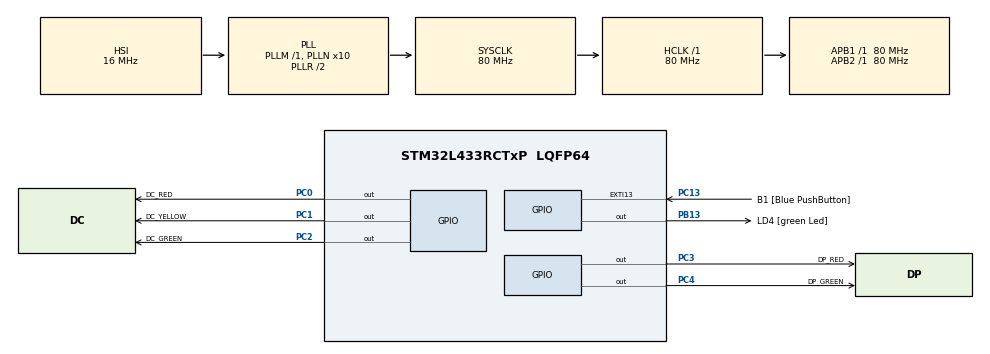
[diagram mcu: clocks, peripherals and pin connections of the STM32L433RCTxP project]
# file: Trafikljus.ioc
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Mcu.Family=STM32L4
Mcu.Name=STM32L433RCTxP
Mcu.Package=LQFP64
NVIC.PriorityGroup=NVIC_PRIORITYGROUP_4
PA13\ (JTMS-SWDIO).GPIO_Label=TMS
PA13\ (JTMS-SWDIO).Mode=Serial_Wire
PA13\ (JTMS-SWDIO).Signal=SYS_JTMS-SWDIO
PA14\ (JTCK-SWCLK).GPIO_Label=TCK
PA14\ (JTCK-SWCLK).Mode=Serial_Wire
PA14\ (JTCK-SWCLK).Signal=SYS_JTCK-SWCLK
PB13.GPIO_Label=LD4 [green Led]
PB13.Signal=GPIO_Output
PB3\ (JTDO-TRACESWO).GPIO_Label=SWO
PB3\ (JTDO-TRACESWO).Signal=SYS_JTDO-SWO
PC0.GPIO_Label=DC_RED
PC0.Signal=GPIO_Output
PC1.GPIO_Label=DC_YELLOW
PC1.Signal=GPIO_Output
PC13.GPIO_Label=B1 [Blue PushButton]
PC13.GPIO_ModeDefaultEXTI=GPIO_MODE_IT_FALLING
PC13.GPIO_PuPd=GPIO_NOPULL
PC13.Signal=GPXTI13
PC14-OSC32_IN\ (PC14).Mode=LSE-External-Oscillator
PC14-OSC32_IN\ (PC14).Signal=RCC_OSC32_IN
PC15-OSC32_OUT\ (PC15).Mode=LSE-External-Oscillator
PC15-OSC32_OUT\ (PC15).Signal=RCC_OSC32_OUT
PC2.GPIO_Label=DC_GREEN
PC2.Signal=GPIO_Output
PC3.GPIO_Label=DP_RED
PC3.Signal=GPIO_Output
PC4.GPIO_Label=DP_GREEN
PC4.Signal=GPIO_Output
PH1-OSC_OUT\ (PH1).Signal=RCC_OSC_OUT
ProjectManager.HeapSize=0x200
ProjectManager.StackSize=0x400
ProjectManager.TargetToolchain=STM32CubeIDE
RCC.ADCFreq_Value=64000000
RCC.AHBFreq_Value=80000000
RCC.APB1Freq_Value=80000000
RCC.APB1TimFreq_Value=80000000
RCC.APB2Freq_Value=80000000
RCC.APB2TimFreq_Value=80000000
RCC.CortexFreq_Value=80000000
RCC.HCLKFreq_Value=80000000
RCC.HSE_VALUE=8000000
RCC.HSI48_VALUE=48000000
RCC.HSI_VALUE=16000000
RCC.MSI_VALUE=4000000
RCC.PLLN=10
RCC.PLLSourceVirtual=RCC_PLLSOURCE_HSI
RCC.PREFETCH_ENABLE=1
RCC.SYSCLKFreq_VALUE=80000000
RCC.SYSCLKSource=RCC_SYSCLKSOURCE_PLLCLK
RCC.USBFreq_Value=64000000
RCC.VCOOutputFreq_Value=160000000
board=NUCLEO-L433RC-P

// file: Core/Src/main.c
/* USER CODE BEGIN Header */
/**
 ******************************************************************************
 * @file           : main.c
 * @brief          : Main program body
 ******************************************************************************
 * @attention
 *
 * Copyright (c) 2026 STMicroelectronics.
 * All rights reserved.
 *
 * This software is licensed under terms that can be found in the LICENSE file
 * in the root directory of this software component.
 * If no LICENSE file comes with this software, it is provided AS-IS.
 *
 ******************************************************************************
 */
/* USER CODE END Header */
#include "main.h"

/* USER CODE BEGIN Includes */
#include <stdio.h>
#include <stdlib.h>
#include <stdbool.h>
#include "enum.h"

/* USER CODE END Includes */

void SystemClock_Config(void);
static void MX_GPIO_Init(void);

/* USER CODE BEGIN 0 */
//car = RED YELLOW GREEN
//people = RED GREEN
//output[0] = s_init
//output[1] = s_car_stop = 10001
// output[2] = s_car_standing_by = 10110
//output[3] = s_people_walk = 10001
//output[4] = s_car_about_to_stop = 10010
//output[5] = s_car_go = 01001
//output[6] = s_people_stop = 01100
//output[7] = s_people_pushed_button = 01011
void set_traffic_lights(enum state s) {
	const int8_t output[8] = { 0b11111, 0b10001, 0b01001, 0b01011, 0b01100,
			0b01100, 0b01010, 0b01001 };
	switch (s) {
	case s_init:
		GPIOC->ODR = output[s_init];
		break;
	case s_people_walk:
		GPIOC->ODR = output[s_people_walk];
		break;
	case s_car_standing_by:
		GPIOC->ODR = output[s_car_standing_by];
		break;
	case s_people_stop:
		GPIOC->ODR = output[s_people_stop];
		break;
	case s_car_go:
		GPIOC->ODR = output[s_car_go];
		break;
	case s_pushed_wait:
		GPIOC->ODR = output[s_pushed_wait];
		break;
	case s_car_is_stopping:
		GPIOC->ODR = output[s_car_is_stopping];
		break;
	case s_car_stop:
		GPIOC->ODR = output[s_car_stop];
		break;
	default:
		break;
	}
}
int is_button_pressed() {
	return GPIOC->IDR & (1 << 13);
}

/* USER CODE END 0 */

int main(void) {

	/* USER CODE BEGIN 1 */
	enum state st = s_init;
	enum event ev = ev_none;
	uint32_t ticks_left_in_state = 0;
	uint32_t curr_tick, last_tick = 0;
	bool temp = false;
	/* USER CODE END 1 */

	/* MCU Configuration--------------------------------------------------------*/

	/* Reset of all peripherals, Initializes the Flash interface and the Systick. */
	HAL_Init();

	/* Configure the system clock */
	SystemClock_Config();

	/* Initialize all configured peripherals */
	MX_GPIO_Init();
	/* USER CODE BEGIN 2 */
	int last_press = is_button_pressed();

	/* USER CODE END 2 */

	/* Infinite loop */
	while (1) {
		/* USER CODE BEGIN 3 */
		int curr_press = is_button_pressed();
		bool button_ev = curr_press && !last_press;
		last_press = curr_press;
		curr_tick = HAL_GetTick();
		uint32_t delta = curr_tick - last_tick;
		last_tick = curr_tick;
		ev = ev_none;
		if (ticks_left_in_state > 0) {
			if (delta >= ticks_left_in_state) {
				ticks_left_in_state = 0;
				ev = ev_state_timeout;
			} else {
				ticks_left_in_state -= delta;
			}
			last_tick = curr_tick;
		}
		if (button_ev) {
			ev = ev_button_push;
		}
		switch (st) {
		case s_init:
			if (ev == ev_button_push) {
				st = s_people_walk;
			}
			break;
		case s_people_walk:
			if (temp == false) {
				ticks_left_in_state = 5000;
				temp = true;
			}
			if (ev == ev_state_timeout) {
				st = s_car_standing_by;
				temp = false;
			}
			break;
		case s_car_standing_by:
			if (temp == false) {
				ticks_left_in_state = 5000;
				temp = true;
			}
			if (ev == ev_state_timeout) {
				st = s_people_stop;
				temp = false;
			}
			break;
		case s_people_stop:
			if (temp == false) {
				ticks_left_in_state = 5000;
				temp = true;
			}
			if (ev == ev_state_timeout) {
				st = s_car_go;
				temp = false;
			}
			break;
		case s_car_go:
			if (ev == ev_button_push) {
				st = s_pushed_wait;
			}
			break;
		case s_pushed_wait:
			if (temp == false) {
				ticks_left_in_state = 5000;
				temp = true;
			}
			if (ev == ev_state_timeout) {
				st = s_car_is_stopping;
				temp = false;
			}
			break;
		case s_car_is_stopping:
			if (temp == false) {
				ticks_left_in_state = 5000;
				temp = true;
			}
			if (ev == ev_state_timeout) {
				st = s_car_stop;
				temp = false;
			}
			break;
		case s_car_stop:
			if (temp == false) {
				ticks_left_in_state = 5000;
				temp = true;
			}
			if (ev == ev_state_timeout) {
				st = s_people_walk;
				temp = false;
			}
			break;
		default:
			break;
		}
		set_traffic_lights(st);
	}
	/* USER CODE END 3 */
}

void SystemClock_Config(void) {
	RCC_OscInitTypeDef RCC_OscInitStruct = { 0 };
	RCC_ClkInitTypeDef RCC_ClkInitStruct = { 0 };

	/** Configure the main internal regulator output voltage
	 */
	if (HAL_PWREx_ControlVoltageScaling(PWR_REGULATOR_VOLTAGE_SCALE1)
			!= HAL_OK) {
		Error_Handler();
	}

	/** Initializes the RCC Oscillators according to the specified parameters
	 * in the RCC_OscInitTypeDef structure.
	 */
	RCC_OscInitStruct.OscillatorType = RCC_OSCILLATORTYPE_HSI;
	RCC_OscInitStruct.HSIState = RCC_HSI_ON;
	RCC_OscInitStruct.HSICalibrationValue = RCC_HSICALIBRATION_DEFAULT;
	RCC_OscInitStruct.PLL.PLLState = RCC_PLL_ON;
	RCC_OscInitStruct.PLL.PLLSource = RCC_PLLSOURCE_HSI;
	RCC_OscInitStruct.PLL.PLLM = 1;
	RCC_OscInitStruct.PLL.PLLN = 10;
	RCC_OscInitStruct.PLL.PLLP = RCC_PLLP_DIV7;
	RCC_OscInitStruct.PLL.PLLQ = RCC_PLLQ_DIV2;
	RCC_OscInitStruct.PLL.PLLR = RCC_PLLR_DIV2;
	if (HAL_RCC_OscConfig(&RCC_OscInitStruct) != HAL_OK) {
		Error_Handler();
	}

	/** Initializes the CPU, AHB and APB buses clocks
	 */
	RCC_ClkInitStruct.ClockType = RCC_CLOCKTYPE_HCLK | RCC_CLOCKTYPE_SYSCLK
			| RCC_CLOCKTYPE_PCLK1 | RCC_CLOCKTYPE_PCLK2;
	RCC_ClkInitStruct.SYSCLKSource = RCC_SYSCLKSOURCE_PLLCLK;
	RCC_ClkInitStruct.AHBCLKDivider = RCC_SYSCLK_DIV1;
	RCC_ClkInitStruct.APB1CLKDivider = RCC_HCLK_DIV1;
	RCC_ClkInitStruct.APB2CLKDivider = RCC_HCLK_DIV1;

	if (HAL_RCC_ClockConfig(&RCC_ClkInitStruct, FLASH_LATENCY_4) != HAL_OK) {
		Error_Handler();
	}
}

void MX_GPIO_Init(void) {
	GPIO_InitTypeDef GPIO_InitStruct = { 0 };

	/* GPIO Ports Clock Enable */
	__HAL_RCC_GPIOC_CLK_ENABLE();
	__HAL_RCC_GPIOH_CLK_ENABLE();
	__HAL_RCC_GPIOB_CLK_ENABLE();
	__HAL_RCC_GPIOA_CLK_ENABLE();

	/*Configure GPIO pin Output Level */
	HAL_GPIO_WritePin(GPIOC,
			DC_RED_Pin | DC_YELLOW_Pin | DC_GREEN_Pin | DP_RED_Pin
					| DP_GREEN_Pin, GPIO_PIN_RESET);

	/*Configure GPIO pin Output Level */
	HAL_GPIO_WritePin(LD4_GPIO_Port, LD4_Pin, GPIO_PIN_RESET);

	/*Configure GPIO pin : B1_Pin */
	GPIO_InitStruct.Pin = B1_Pin;
	GPIO_InitStruct.Mode = GPIO_MODE_IT_FALLING;
	GPIO_InitStruct.Pull = GPIO_NOPULL;
	HAL_GPIO_Init(B1_GPIO_Port, &GPIO_InitStruct);

	/*Configure GPIO pins : DC_RED_Pin DC_YELLOW_Pin DC_GREEN_Pin DP_RED_Pin
	 DP_GREEN_Pin */
	GPIO_InitStruct.Pin = DC_RED_Pin | DC_YELLOW_Pin | DC_GREEN_Pin | DP_RED_Pin
			| DP_GREEN_Pin;
	GPIO_InitStruct.Mode = GPIO_MODE_OUTPUT_PP;
	GPIO_InitStruct.Pull = GPIO_NOPULL;
	GPIO_InitStruct.Speed = GPIO_SPEED_FREQ_LOW;
	HAL_GPIO_Init(GPIOC, &GPIO_InitStruct);

	/*Configure GPIO pin : LD4_Pin */
	GPIO_InitStruct.Pin = LD4_Pin;
	GPIO_InitStruct.Mode = GPIO_MODE_OUTPUT_PP;
	GPIO_InitStruct.Pull = GPIO_NOPULL;
	GPIO_InitStruct.Speed = GPIO_SPEED_FREQ_LOW;
	HAL_GPIO_Init(LD4_GPIO_Port, &GPIO_InitStruct);

}

void Error_Handler(void) {
	__disable_irq();
	while (1) {
	}
}
